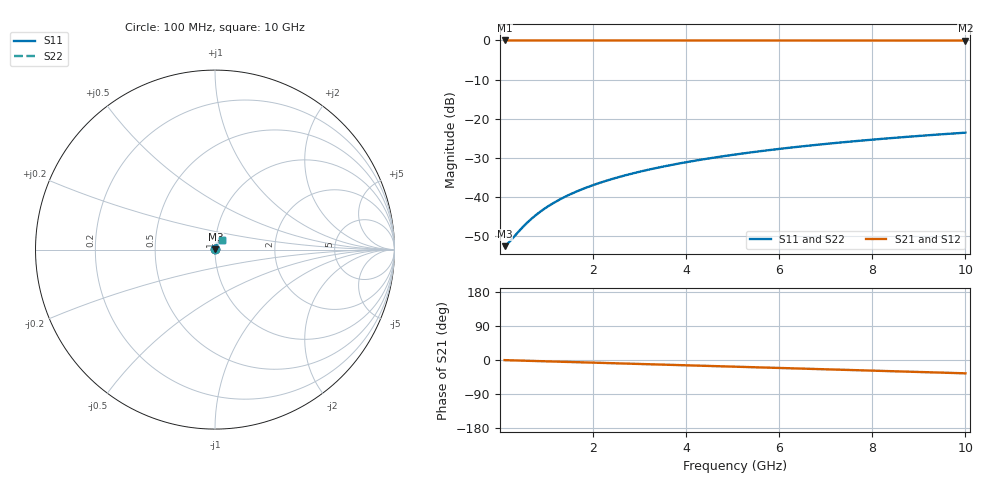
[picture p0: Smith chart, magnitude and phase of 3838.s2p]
# Hz S RI R 50.00
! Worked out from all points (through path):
!   100 points, 100 MHz to 10 GHz, reference 50 ohm
!   highest |S21| = -0.02 dB at 100 MHz (marker M1); lowest = 0.0 dB at 10 GHz (marker M2)
!   group delay of S21, straight-line fit = 9.77 ps
!   lowest |S11| = -52.6 dB at 100 MHz (marker M3), VSWR 1.00, Z = 50.2 + j0.069 ohm
!   |S11| at or under -10 dB: start of sweep to end of sweep
!   |S22| runs from -52.6 to -23.6 dB; largest |S21 - S12| = 0
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1e8  0.00225 0.000687  0.9977 -0.00607  0.9977 -0.00607  0.00225 0.000687
2e8  0.00227 0.00137  0.9977 -0.0121  0.9977 -0.0121  0.00227 0.00137
4e8  0.00234 0.00275  0.9974 -0.0243  0.9974 -0.0243  0.00234 0.00275
5e8  0.00238 0.00343  0.9972 -0.0304  0.9972 -0.0304  0.00238 0.00343
6e8  0.00243 0.00412  0.997 -0.0364  0.997 -0.0364  0.00243 0.00412
7e8  0.00249 0.0048  0.9968 -0.0425  0.9968 -0.0425  0.00249 0.0048
9e8  0.00263 0.00616  0.9961 -0.0546  0.9961 -0.0546  0.00263 0.00616
1.1e9  0.0028 0.00752  0.9954 -0.0668  0.9954 -0.0668  0.0028 0.00752
1.3e9  0.00301 0.00888  0.9945 -0.0789  0.9945 -0.0789  0.00301 0.00888
1.5e9  0.00324 0.0102  0.9934 -0.091  0.9934 -0.091  0.00324 0.0102
1.8e9  0.00366 0.0122  0.9915 -0.1091  0.9915 -0.1091  0.00366 0.0122
2.1e9  0.00415 0.0142  0.9893 -0.1273  0.9893 -0.1273  0.00415 0.0142
2.5e9  0.00491 0.0169  0.9859 -0.1514  0.9859 -0.1514  0.00491 0.0169
2.9e9  0.00581 0.0194  0.9818 -0.1754  0.9818 -0.1754  0.00581 0.0194
3.4e9  0.0071 0.0226  0.9759 -0.2053  0.9759 -0.2053  0.0071 0.0226
4.2e9  0.00956 0.0275  0.9645 -0.2527  0.9645 -0.2527  0.00956 0.0275
5.1e9  0.0129 0.0327  0.9489 -0.3055  0.9489 -0.3055  0.0129 0.0327
5.9e9  0.0163 0.037  0.9325 -0.3516  0.9325 -0.3516  0.0163 0.037
6.7e9  0.0202 0.0409  0.9138 -0.3969  0.9138 -0.3969  0.0202 0.0409
7.5e9  0.0244 0.0445  0.8929 -0.4413  0.8929 -0.4413  0.0244 0.0445
8.4e9  0.0297 0.048  0.8667 -0.4901  0.8667 -0.4901  0.0297 0.048
1e10  0.0399 0.0529  0.8135 -0.573  0.8135 -0.573  0.0399 0.0529
